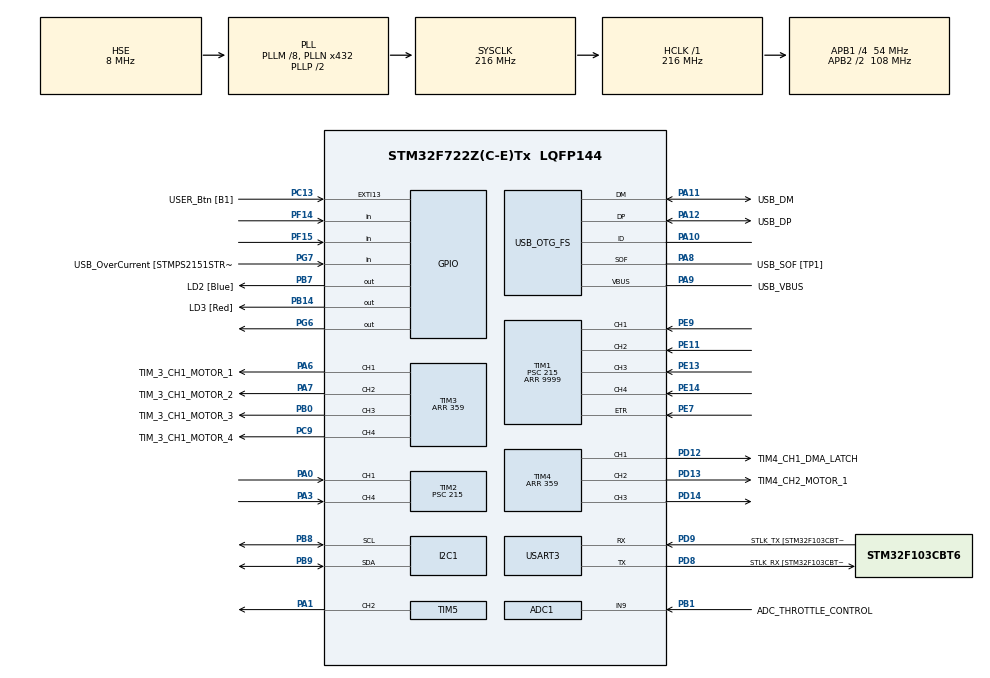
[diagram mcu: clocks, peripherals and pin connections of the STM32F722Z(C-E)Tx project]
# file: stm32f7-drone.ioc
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ADC1.Channel-2\#ChannelRegularConversion=ADC_CHANNEL_9
ADC1.NbrOfConversionFlag=1
ADC1.Rank-2\#ChannelRegularConversion=1
ADC1.SamplingTime-2\#ChannelRegularConversion=ADC_SAMPLETIME_3CYCLES
ADC1.master=1
Dma.I2C1_RX.0.Direction=DMA_PERIPH_TO_MEMORY
Dma.I2C1_RX.0.FIFOMode=DMA_FIFOMODE_ENABLE
Dma.I2C1_RX.0.FIFOThreshold=DMA_FIFO_THRESHOLD_FULL
Dma.I2C1_RX.0.Instance=DMA1_Stream5
Dma.I2C1_RX.0.MemBurst=DMA_MBURST_INC4
Dma.I2C1_RX.0.MemDataAlignment=DMA_MDATAALIGN_BYTE
Dma.I2C1_RX.0.MemInc=DMA_MINC_ENABLE
Dma.I2C1_RX.0.Mode=DMA_NORMAL
Dma.I2C1_RX.0.PeriphBurst=DMA_PBURST_INC4
Dma.I2C1_RX.0.PeriphDataAlignment=DMA_PDATAALIGN_BYTE
Dma.I2C1_RX.0.PeriphInc=DMA_PINC_DISABLE
Dma.I2C1_RX.0.Priority=DMA_PRIORITY_HIGH
Dma.I2C1_TX.1.Direction=DMA_MEMORY_TO_PERIPH
Dma.I2C1_TX.1.FIFOMode=DMA_FIFOMODE_ENABLE
Dma.I2C1_TX.1.FIFOThreshold=DMA_FIFO_THRESHOLD_FULL
Dma.I2C1_TX.1.Instance=DMA1_Stream6
Dma.I2C1_TX.1.MemBurst=DMA_MBURST_INC4
Dma.I2C1_TX.1.MemDataAlignment=DMA_MDATAALIGN_WORD
Dma.I2C1_TX.1.MemInc=DMA_MINC_ENABLE
Dma.I2C1_TX.1.Mode=DMA_NORMAL
Dma.I2C1_TX.1.PeriphBurst=DMA_PBURST_INC4
Dma.I2C1_TX.1.PeriphDataAlignment=DMA_PDATAALIGN_WORD
Dma.I2C1_TX.1.PeriphInc=DMA_PINC_DISABLE
Dma.I2C1_TX.1.Priority=DMA_PRIORITY_HIGH
Dma.Request0=I2C1_RX
Dma.Request1=I2C1_TX
Dma.Request2=TIM4_CH1
Dma.Request3=TIM4_CH2
Dma.Request4=TIM4_CH3
Dma.Request5=TIM5_CH2
Dma.TIM4_CH1.2.Direction=DMA_MEMORY_TO_PERIPH
Dma.TIM4_CH1.2.FIFOMode=DMA_FIFOMODE_ENABLE
Dma.TIM4_CH1.2.FIFOThreshold=DMA_FIFO_THRESHOLD_FULL
Dma.TIM4_CH1.2.Instance=DMA1_Stream0
Dma.TIM4_CH1.2.MemBurst=DMA_MBURST_SINGLE
Dma.TIM4_CH1.2.MemDataAlignment=DMA_MDATAALIGN_WORD
Dma.TIM4_CH1.2.MemInc=DMA_MINC_ENABLE
Dma.TIM4_CH1.2.Mode=DMA_NORMAL
Dma.TIM4_CH1.2.PeriphBurst=DMA_PBURST_SINGLE
Dma.TIM4_CH1.2.PeriphDataAlignment=DMA_PDATAALIGN_WORD
Dma.TIM4_CH1.2.PeriphInc=DMA_PINC_DISABLE
Dma.TIM4_CH1.2.Priority=DMA_PRIORITY_VERY_HIGH
Dma.TIM4_CH2.3.Direction=DMA_MEMORY_TO_PERIPH
Dma.TIM4_CH2.3.FIFOMode=DMA_FIFOMODE_ENABLE
Dma.TIM4_CH2.3.FIFOThreshold=DMA_FIFO_THRESHOLD_FULL
Dma.TIM4_CH2.3.Instance=DMA1_Stream3
Dma.TIM4_CH2.3.MemBurst=DMA_MBURST_SINGLE
Dma.TIM4_CH2.3.MemDataAlignment=DMA_MDATAALIGN_WORD
Dma.TIM4_CH2.3.MemInc=DMA_MINC_ENABLE
Dma.TIM4_CH2.3.Mode=DMA_NORMAL
Dma.TIM4_CH2.3.PeriphBurst=DMA_PBURST_SINGLE
Dma.TIM4_CH2.3.PeriphDataAlignment=DMA_PDATAALIGN_WORD
Dma.TIM4_CH2.3.PeriphInc=DMA_PINC_DISABLE
Dma.TIM4_CH2.3.Priority=DMA_PRIORITY_VERY_HIGH
Dma.TIM4_CH3.4.Direction=DMA_MEMORY_TO_PERIPH
Dma.TIM4_CH3.4.FIFOMode=DMA_FIFOMODE_ENABLE
Dma.TIM4_CH3.4.FIFOThreshold=DMA_FIFO_THRESHOLD_FULL
Dma.TIM4_CH3.4.Instance=DMA1_Stream7
Dma.TIM4_CH3.4.MemBurst=DMA_MBURST_SINGLE
Dma.TIM4_CH3.4.MemDataAlignment=DMA_MDATAALIGN_WORD
Dma.TIM4_CH3.4.MemInc=DMA_MINC_ENABLE
Dma.TIM4_CH3.4.Mode=DMA_NORMAL
Dma.TIM4_CH3.4.PeriphBurst=DMA_PBURST_SINGLE
Dma.TIM4_CH3.4.PeriphDataAlignment=DMA_PDATAALIGN_WORD
Dma.TIM4_CH3.4.PeriphInc=DMA_PINC_DISABLE
Dma.TIM4_CH3.4.Priority=DMA_PRIORITY_VERY_HIGH
Dma.TIM5_CH2.5.Direction=DMA_MEMORY_TO_PERIPH
Dma.TIM5_CH2.5.FIFOMode=DMA_FIFOMODE_ENABLE
Dma.TIM5_CH2.5.FIFOThreshold=DMA_FIFO_THRESHOLD_FULL
Dma.TIM5_CH2.5.Instance=DMA1_Stream4
Dma.TIM5_CH2.5.MemBurst=DMA_MBURST_SINGLE
Dma.TIM5_CH2.5.MemDataAlignment=DMA_MDATAALIGN_WORD
Dma.TIM5_CH2.5.MemInc=DMA_MINC_ENABLE
Dma.TIM5_CH2.5.Mode=DMA_NORMAL
Dma.TIM5_CH2.5.PeriphBurst=DMA_PBURST_SINGLE
Dma.TIM5_CH2.5.PeriphDataAlignment=DMA_PDATAALIGN_WORD
Dma.TIM5_CH2.5.PeriphInc=DMA_PINC_DISABLE
Dma.TIM5_CH2.5.Priority=DMA_PRIORITY_VERY_HIGH
I2C1.NoStretchMode=I2C_NOSTRETCH_DISABLE
I2C1.OwnAddress=0x6A
I2C1.Timing=0x20404768
Mcu.Family=STM32F7
Mcu.Name=STM32F722Z(C-E)Tx
Mcu.Package=LQFP144
NVIC.DMA1_Stream0_IRQn=true\:0\:0\:false\:false\:true\:false\:true
NVIC.DMA1_Stream3_IRQn=true\:0\:0\:false\:false\:true\:false\:true
NVIC.DMA1_Stream4_IRQn=true\:0\:0\:false\:false\:true\:false\:true
NVIC.DMA1_Stream5_IRQn=true\:0\:0\:false\:false\:true\:false\:true
NVIC.DMA1_Stream6_IRQn=true\:0\:0\:false\:false\:true\:false\:true
NVIC.DMA1_Stream7_IRQn=true\:0\:0\:false\:false\:true\:false\:true
NVIC.I2C1_EV_IRQn=true\:0\:0\:false\:false\:true\:true\:true
NVIC.PriorityGroup=NVIC_PRIORITYGROUP_4
NVIC.TIM1_CC_IRQn=true\:0\:0\:false\:false\:true\:true\:true
NVIC.TIM2_IRQn=true\:0\:0\:false\:false\:true\:true\:true
NVIC.USART3_IRQn=true\:0\:0\:false\:false\:true\:true\:true
PA0-WKUP.Signal=S_TIM2_CH1_ETR
PA1.Signal=S_TIM5_CH2
PA10.Mode=OTG/Dual_Role_Device
PA10.Signal=USB_OTG_FS_ID
PA11.GPIO_Label=USB_DM
PA11.Mode=OTG/Dual_Role_Device
PA11.Signal=USB_OTG_FS_DM
PA12.GPIO_Label=USB_DP
PA12.Mode=OTG/Dual_Role_Device
PA12.Signal=USB_OTG_FS_DP
PA13.GPIO_Label=TMS
PA13.Mode=Serial_Wire
PA13.Signal=SYS_JTMS-SWDIO
PA14.GPIO_Label=TCK
PA14.Mode=Serial_Wire
PA14.Signal=SYS_JTCK-SWCLK
PA3.Signal=S_TIM2_CH4
PA6.GPIO_Label=TIM_3_CH1_MOTOR_1
PA6.Signal=S_TIM3_CH1
PA7.GPIO_Label=TIM_3_CH1_MOTOR_2
PA7.Signal=S_TIM3_CH2
PA8.GPIO_Label=USB_SOF [TP1]
PA8.Mode=Activate_SOF_FS
PA8.Signal=USB_OTG_FS_SOF
PA9.GPIO_Label=USB_VBUS
PA9.Mode=Activate_VBUS
PA9.Signal=USB_OTG_FS_VBUS
PB0.GPIO_Label=TIM_3_CH1_MOTOR_3
PB0.Signal=S_TIM3_CH3
PB1.GPIO_Label=ADC_THROTTLE_CONTROL
PB1.Signal=ADCx_IN9
PB14.GPIO_Label=LD3 [Red]
PB14.Signal=GPIO_Output
PB7.GPIO_Label=LD2 [Blue]
PB7.Signal=GPIO_Output
PB8.Mode=I2C
PB8.Signal=I2C1_SCL
PB9.Mode=I2C
PB9.Signal=I2C1_SDA
PC13.GPIO_Label=USER_Btn [B1]
PC13.Signal=GPXTI13
PC14-OSC32_IN.Mode=LSE-External-Oscillator
PC14-OSC32_IN.Signal=RCC_OSC32_IN
PC15-OSC32_OUT.Mode=LSE-External-Oscillator
PC15-OSC32_OUT.Signal=RCC_OSC32_OUT
PC9.GPIO_Label=TIM_3_CH1_MOTOR_4
PC9.Signal=S_TIM3_CH4
PD12.GPIO_Label=TIM4_CH1_DMA_LATCH
PD12.Signal=S_TIM4_CH1
PD13.GPIO_Label=TIM4_CH2_MOTOR_1
PD13.Signal=S_TIM4_CH2
PD14.Signal=S_TIM4_CH3
PD8.GPIO_Label=STLK_RX [STM32F103CBT6_PA3]
PD8.Mode=Asynchronous
PD8.Signal=USART3_TX
PD9.GPIO_Label=STLK_TX [STM32F103CBT6_PA2]
PD9.Mode=Asynchronous
PD9.Signal=USART3_RX
PE11.Signal=S_TIM1_CH2
PE13.Signal=S_TIM1_CH3
PE14.Signal=S_TIM1_CH4
PE7.Signal=S_TIM1_ETR
PE9.Signal=S_TIM1_CH1
PF14.Signal=GPIO_Input
PF15.Signal=GPIO_Input
PG2.Signal=FMC_A12
PG6.Signal=GPIO_Output
PG7.GPIO_Label=USB_OverCurrent [STMPS2151STR_FAULT]
PG7.Signal=GPIO_Input
PH0-OSC_IN.GPIO_Label=MCO
PH0-OSC_IN.Mode=HSE-External-Clock-Source
PH0-OSC_IN.Signal=RCC_OSC_IN
PH1-OSC_OUT.Mode=HSE-External-Clock-Source
PH1-OSC_OUT.Signal=RCC_OSC_OUT
ProjectManager.HeapSize=0x200
ProjectManager.StackSize=0x400
ProjectManager.TargetToolchain=STM32CubeIDE
RCC.48MHZClocksFreq_Value=24000000
RCC.AHBFreq_Value=216000000
RCC.APB1CLKDivider=RCC_HCLK_DIV4
RCC.APB1Freq_Value=54000000
RCC.APB1TimFreq_Value=108000000
RCC.APB2CLKDivider=RCC_HCLK_DIV2
RCC.APB2Freq_Value=108000000
RCC.APB2TimFreq_Value=216000000
RCC.CortexFreq_Value=216000000
RCC.HCLKFreq_Value=216000000
RCC.HSE_VALUE=8000000
RCC.HSI_VALUE=16000000
RCC.PLLM=8
RCC.PLLMUL=RCC_PLL_MUL9
RCC.PLLN=432
RCC.PLLQ=9
RCC.PRESCALERUSB=RCC_USBCLKSOURCE_PLL_DIV1_5
RCC.SYSCLKFreq_VALUE=216000000
RCC.SYSCLKSource=RCC_SYSCLKSOURCE_PLLCLK
RCC.SYSCLKSourceVirtual=RCC_SYSCLKSOURCE_PLLCLK
RCC.USBFreq_Value=48000000
RCC.VCOOutputFreq_Value=432000000
SH.ADCx_IN9.0=ADC1_IN9,IN9
SH.FMC_A12.0=FMC_A12
SH.S_TIM1_CH1.0=TIM1_CH1,Input_Capture1_from_TI1
SH.S_TIM1_CH2.0=TIM1_CH2,Input_Capture2_from_TI2
SH.S_TIM1_CH3.0=TIM1_CH3,Input_Capture3_from_TI3
SH.S_TIM1_CH4.0=TIM1_CH4,Input_Capture4_from_TI4
SH.S_TIM1_ETR.0=TIM1_ETR,TriggerSource_ETR
SH.S_TIM2_CH1_ETR.0=TIM2_CH1,Input_Capture1_from_TI1
SH.S_TIM2_CH4.0=TIM2_CH4,Input_Capture4_from_TI4
SH.S_TIM3_CH1.0=TIM3_CH1,PWM Generation1 CH1
SH.S_TIM3_CH2.0=TIM3_CH2,PWM Generation2 CH2
SH.S_TIM3_CH3.0=TIM3_CH3,PWM Generation3 CH3
SH.S_TIM3_CH4.0=TIM3_CH4,PWM Generation4 CH4
SH.S_TIM4_CH1.0=TIM4_CH1,Output Compare1 CH1
SH.S_TIM4_CH2.0=TIM4_CH2,Output Compare2 CH2
SH.S_TIM4_CH3.0=TIM4_CH3,Output Compare3 CH3
SH.S_TIM5_CH2.0=TIM5_CH2,Output Compare2 CH2
TIM1.AutoReloadPreload=TIM_AUTORELOAD_PRELOAD_ENABLE
TIM1.Channel-Input_Capture1_from_TI1=TIM_CHANNEL_1
TIM1.Channel-Input_Capture2_from_TI2=TIM_CHANNEL_2
TIM1.Channel-Input_Capture3_from_TI3=TIM_CHANNEL_3
TIM1.Channel-Input_Capture4_from_TI4=TIM_CHANNEL_4
TIM1.ICPolarity_CH1=TIM_INPUTCHANNELPOLARITY_FALLING
TIM1.ICPolarity_CH2=TIM_INPUTCHANNELPOLARITY_FALLING
TIM1.ICPolarity_CH3=TIM_INPUTCHANNELPOLARITY_FALLING
TIM1.ICPolarity_CH4=TIM_INPUTCHANNELPOLARITY_FALLING
TIM1.Period=9999
TIM1.Prescaler=215
TIM1.Slave_TriggerPolarity=TIM_TRIGGERPOLARITY_NONINVERTED
TIM2.AutoReloadPreload=TIM_AUTORELOAD_PRELOAD_ENABLE
TIM2.Channel-Input_Capture1_from_TI1=TIM_CHANNEL_1
TIM2.Channel-Input_Capture4_from_TI4=TIM_CHANNEL_4
TIM2.ICPolarity_CH1=TIM_INPUTCHANNELPOLARITY_FALLING
TIM2.ICPolarity_CH4=TIM_INPUTCHANNELPOLARITY_FALLING
TIM2.Period=9999
TIM2.Prescaler=215
TIM2.TIM_MasterOutputTrigger=TIM_TRGO_RESET
TIM3.AutoReloadPreload=TIM_AUTORELOAD_PRELOAD_ENABLE
TIM3.Channel-PWM\ Generation1\ CH1=TIM_CHANNEL_1
TIM3.Channel-PWM\ Generation2\ CH2=TIM_CHANNEL_2
TIM3.Channel-PWM\ Generation3\ CH3=TIM_CHANNEL_3
TIM3.Channel-PWM\ Generation4\ CH4=TIM_CHANNEL_4
TIM3.Period=359
TIM4.AutoReloadPreload=TIM_AUTORELOAD_PRELOAD_ENABLE
TIM4.Channel-Output\ Compare1\ CH1=TIM_CHANNEL_1
TIM4.Channel-Output\ Compare2\ CH2=TIM_CHANNEL_2
TIM4.Channel-Output\ Compare3\ CH3=TIM_CHANNEL_3
TIM4.OCMode_1=TIM_OCMODE_ACTIVE
TIM4.OCMode_2=TIM_OCMODE_ACTIVE
TIM4.OCMode_3=TIM_OCMODE_ACTIVE
TIM4.Period=359
TIM4.Pulse-Output\ Compare1\ CH1=1
TIM4.Pulse-Output\ Compare2\ CH2=1
TIM4.Pulse-Output\ Compare3\ CH3=1
TIM5.AutoReloadPreload=TIM_AUTORELOAD_PRELOAD_ENABLE
TIM5.Channel-Output\ Compare2\ CH2=TIM_CHANNEL_2
TIM5.OCMode_2=TIM_OCMODE_ACTIVE
TIM5.Period=359
TIM5.Pulse-Output\ Compare2\ CH2=1
USART3.VirtualMode-Asynchronous=VM_ASYNC
VP_TIM1_VS_ControllerModeReset.Mode=Reset Mode
VP_TIM2_VS_ClockSourceITR.Mode=TriggerSource_ITR0
VP_TIM2_VS_ControllerModeReset.Mode=Reset Mode
board=NUCLEO-F722ZE

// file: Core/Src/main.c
/* USER CODE BEGIN Header */
/**
 ******************************************************************************
 * @file           : main.c
 * @brief          : Main program body
 ******************************************************************************
 * @attention
 *
 * <h2><center>&copy; Copyright (c) 2020 STMicroelectronics.
 * All rights reserved.</center></h2>
 *
 * This software component is licensed by ST under BSD 3-Clause license,
 * the "License"; You may not use this file except in compliance with the
 * License. You may obtain a copy of the License at:
 *                        opensource.org/licenses/BSD-3-Clause
 *
 ******************************************************************************
 */
/* USER CODE END Header */
#include "main.h"

/* USER CODE BEGIN Includes */
#include <string.h>
#include <stdio.h>
#include <time.h>
#include "ESC.h"
#include "ADC.h"
#include "XLG.h"
#include "RX.h"
/* USER CODE END Includes */

ADC_HandleTypeDef hadc1;

I2C_HandleTypeDef hi2c1;

DMA_HandleTypeDef hdma_i2c1_rx;
DMA_HandleTypeDef hdma_i2c1_tx;

TIM_HandleTypeDef htim1;
TIM_HandleTypeDef htim2;
TIM_HandleTypeDef htim3;
TIM_HandleTypeDef htim4;
TIM_HandleTypeDef htim5;

DMA_HandleTypeDef hdma_tim4_ch1;
DMA_HandleTypeDef hdma_tim4_ch2;
DMA_HandleTypeDef hdma_tim4_ch3;
DMA_HandleTypeDef hdma_tim5_ch2;

UART_HandleTypeDef huart3;

/* USER CODE BEGIN PV */
int cmd = 0;
int motor = 0;
uint8_t throttleHighFlag = 1;
uint8_t commandBlocking = 0;
uint32_t watchdog = 0;
uint8_t armed = 0;
uint8_t txDisconnected = 0;
uint8_t escCMD;
uint8_t sendMsg[48];
XLG_DATA gData;
XLG_DATA xlData;
DMA_HandleTypeDef* escDMASet[4];
TIM_HandleTypeDef* dmaPwmTimers[2];
ESC_CONTROLLER* myESCSet;
RX_CONTROLLER* myRX;
/* USER CODE END PV */

void SystemClock_Config(void);
static void MX_GPIO_Init(void);
static void MX_DMA_Init(void);
static void MX_USART3_UART_Init(void);
static void MX_USB_OTG_FS_USB_Init(void);
static void MX_TIM4_Init(void);
static void MX_ADC1_Init(void);
static void MX_I2C1_Init(void);
static void MX_TIM3_Init(void);
static void MX_TIM2_Init(void);
static void MX_TIM1_Init(void);
static void MX_TIM5_Init(void);

/* USER CODE BEGIN 0 */

// Interrupt service routine for command line settings
void HAL_UART_RxCpltCallback(UART_HandleTypeDef* huart)
{
	// cmd will be used externally from IRQ to send specific command to ESCs
	cmd = escCMD - '0';
	// Start listening for another command via UART
	HAL_UART_Receive_IT(&huart3, &escCMD, 1);
	// Echo back to user the command they sent
	sprintf((char*)sendMsg, "\r\nSending command %c\r\n", escCMD);
	HAL_UART_Transmit_IT(&huart3, sendMsg, strlen((char*)sendMsg));
}

// Interrupt service routine for RX
void HAL_TIM_IC_CaptureCallback(TIM_HandleTypeDef *htim)
{
	RX_UPDATE(myRX);
	ESC_CALC_THROTTLE(myESCSet, myRX, armed);
	watchdog = 0;
}

// XLG data interrrupt service routine
void HAL_I2C_MasterRxCpltCallback(I2C_HandleTypeDef *hi2c)
{
	XLG_G_DATA_READ(&hi2c1, &gData);
	XLG_XL_DATA_READ(&hi2c1, &xlData);
}

void DMA_XferCpltCallback(DMA_HandleTypeDef *hdma)
{
//	if (armed && !myESCSet->SendingFlag)
//	{
//		ESC_UPDATE_THROTTLE(myESCSet);
//	}
}

/* USER CODE END 0 */

int main(void)
{

	/* MCU Configuration--------------------------------------------------------*/

	/* Reset of all peripherals, Initializes the Flash interface and the Systick. */
	HAL_Init();

	/* Configure the system clock */
	SystemClock_Config();

	/* Initialize all configured peripherals */
	MX_GPIO_Init();
	MX_DMA_Init();
	MX_USART3_UART_Init();
	MX_USB_OTG_FS_USB_Init();
	MX_TIM4_Init();
	MX_ADC1_Init();
	MX_I2C1_Init();
	MX_TIM3_Init();
	MX_TIM2_Init();
	MX_TIM1_Init();
	MX_TIM5_Init();
	/* USER CODE BEGIN 2 */
	escDMASet[0] = &hdma_tim4_ch1; 		// DMA1: Stream 0 (S0)
	escDMASet[1] = &hdma_tim4_ch2; 		// DMA1: Stream 3 (S3)
	escDMASet[2] = &hdma_tim4_ch3; 		// DMA1: Stream 7 (S7)
	escDMASet[3] = &hdma_tim5_ch2; 		// DMA1: Stream 4 (S4)
	dmaPwmTimers[0] = &htim4;
	dmaPwmTimers[1] = &htim5;
	myESCSet = ESC_INIT(dmaPwmTimers, &htim3, escDMASet);
	myRX = RX_INIT(&htim1, &htim2);
	XLG_INIT(&hi2c1);
	XLG_G_DATA_READ(&hi2c1, &gData);
	XLG_XL_DATA_READ(&hi2c1, &xlData);
	HAL_UART_Receive_IT(&huart3, &escCMD, 1);
	/* USER CODE END 2 */

	/* Infinite loop */
	/* USER CODE BEGIN WHILE */
	while (1)
	{
		watchdog++;
		if (watchdog > 1000)
		{
			armed = 0;
			RX_DISCONNECTED(myRX);
			ESC_CALC_THROTTLE(myESCSet, myRX, armed);
			ESC_UPDATE_THROTTLE(myESCSet);
			ESC_SEND_CMD(myESCSet, DSHOT_CMD_BEACON3, ALL_MOTORS);
		}
		else if (!myRX->switchA)
		{
			armed = 0;
			ESC_SEND_CMD(myESCSet, DSHOT_CMD_MOTOR_STOP, ALL_MOTORS);
			throttleHighFlag = 0;
		}
		else if ((myRX->switchA && (myRX->throttle < 50)) || throttleHighFlag)
		{
			armed = 1;
			ESC_UPDATE_THROTTLE(myESCSet);
			throttleHighFlag = 1;
		}
		/* USER CODE END WHILE */

	}
}

void SystemClock_Config(void)
{
  RCC_OscInitTypeDef RCC_OscInitStruct = {0};
  RCC_ClkInitTypeDef RCC_ClkInitStruct = {0};
  RCC_PeriphCLKInitTypeDef PeriphClkInitStruct = {0};

  /** Configure LSE Drive Capability
  */
  HAL_PWR_EnableBkUpAccess();
  /** Configure the main internal regulator output voltage
  */
  __HAL_RCC_PWR_CLK_ENABLE();
  __HAL_PWR_VOLTAGESCALING_CONFIG(PWR_REGULATOR_VOLTAGE_SCALE1);
  /** Initializes the RCC Oscillators according to the specified parameters
  * in the RCC_OscInitTypeDef structure.
  */
  RCC_OscInitStruct.OscillatorType = RCC_OSCILLATORTYPE_HSE;
  RCC_OscInitStruct.HSEState = RCC_HSE_BYPASS;
  RCC_OscInitStruct.PLL.PLLState = RCC_PLL_ON;
  RCC_OscInitStruct.PLL.PLLSource = RCC_PLLSOURCE_HSE;
  RCC_OscInitStruct.PLL.PLLM = 8;
  RCC_OscInitStruct.PLL.PLLN = 432;
  RCC_OscInitStruct.PLL.PLLP = RCC_PLLP_DIV2;
  RCC_OscInitStruct.PLL.PLLQ = 9;
  if (HAL_RCC_OscConfig(&RCC_OscInitStruct) != HAL_OK)
  {
    Error_Handler();
  }
  /** Activate the Over-Drive mode
  */
  if (HAL_PWREx_EnableOverDrive() != HAL_OK)
  {
    Error_Handler();
  }
  /** Initializes the CPU, AHB and APB buses clocks
  */
  RCC_ClkInitStruct.ClockType = RCC_CLOCKTYPE_HCLK|RCC_CLOCKTYPE_SYSCLK
                              |RCC_CLOCKTYPE_PCLK1|RCC_CLOCKTYPE_PCLK2;
  RCC_ClkInitStruct.SYSCLKSource = RCC_SYSCLKSOURCE_PLLCLK;
  RCC_ClkInitStruct.AHBCLKDivider = RCC_SYSCLK_DIV1;
  RCC_ClkInitStruct.APB1CLKDivider = RCC_HCLK_DIV4;
  RCC_ClkInitStruct.APB2CLKDivider = RCC_HCLK_DIV2;

  if (HAL_RCC_ClockConfig(&RCC_ClkInitStruct, FLASH_LATENCY_7) != HAL_OK)
  {
    Error_Handler();
  }
  PeriphClkInitStruct.PeriphClockSelection = RCC_PERIPHCLK_USART3|RCC_PERIPHCLK_I2C1
                              |RCC_PERIPHCLK_CLK48;
  PeriphClkInitStruct.Usart3ClockSelection = RCC_USART3CLKSOURCE_PCLK1;
  PeriphClkInitStruct.I2c1ClockSelection = RCC_I2C1CLKSOURCE_PCLK1;
  PeriphClkInitStruct.Clk48ClockSelection = RCC_CLK48SOURCE_PLL;
  if (HAL_RCCEx_PeriphCLKConfig(&PeriphClkInitStruct) != HAL_OK)
  {
    Error_Handler();
  }
}

static void MX_ADC1_Init(void)
{

  ADC_ChannelConfTypeDef sConfig = {0};

  /** Configure the global features of the ADC (Clock, Resolution, Data Alignment and number of conversion)
  */
  hadc1.Instance = ADC1;
  hadc1.Init.ClockPrescaler = ADC_CLOCK_SYNC_PCLK_DIV4;
  hadc1.Init.Resolution = ADC_RESOLUTION_12B;
  hadc1.Init.ScanConvMode = ADC_SCAN_DISABLE;
  hadc1.Init.ContinuousConvMode = DISABLE;
  hadc1.Init.DiscontinuousConvMode = DISABLE;
  hadc1.Init.ExternalTrigConvEdge = ADC_EXTERNALTRIGCONVEDGE_NONE;
  hadc1.Init.ExternalTrigConv = ADC_SOFTWARE_START;
  hadc1.Init.DataAlign = ADC_DATAALIGN_RIGHT;
  hadc1.Init.NbrOfConversion = 1;
  hadc1.Init.DMAContinuousRequests = DISABLE;
  hadc1.Init.EOCSelection = ADC_EOC_SINGLE_CONV;
  if (HAL_ADC_Init(&hadc1) != HAL_OK)
  {
    Error_Handler();
  }
  /** Configure for the selected ADC regular channel its corresponding rank in the sequencer and its sample time.
  */
  sConfig.Channel = ADC_CHANNEL_9;
  sConfig.Rank = ADC_REGULAR_RANK_1;
  sConfig.SamplingTime = ADC_SAMPLETIME_3CYCLES;
  if (HAL_ADC_ConfigChannel(&hadc1, &sConfig) != HAL_OK)
  {
    Error_Handler();
  }

}

static void MX_I2C1_Init(void)
{

  hi2c1.Instance = I2C1;
  hi2c1.Init.Timing = 0x20404768;
  hi2c1.Init.OwnAddress1 = 212;
  hi2c1.Init.AddressingMode = I2C_ADDRESSINGMODE_7BIT;
  hi2c1.Init.DualAddressMode = I2C_DUALADDRESS_DISABLE;
  hi2c1.Init.OwnAddress2 = 0;
  hi2c1.Init.OwnAddress2Masks = I2C_OA2_NOMASK;
  hi2c1.Init.GeneralCallMode = I2C_GENERALCALL_DISABLE;
  hi2c1.Init.NoStretchMode = I2C_NOSTRETCH_DISABLE;
  if (HAL_I2C_Init(&hi2c1) != HAL_OK)
  {
    Error_Handler();
  }
  /** Configure Analogue filter
  */
  if (HAL_I2CEx_ConfigAnalogFilter(&hi2c1, I2C_ANALOGFILTER_ENABLE) != HAL_OK)
  {
    Error_Handler();
  }
  /** Configure Digital filter
  */
  if (HAL_I2CEx_ConfigDigitalFilter(&hi2c1, 0) != HAL_OK)
  {
    Error_Handler();
  }

}

static void MX_TIM1_Init(void)
{

  TIM_SlaveConfigTypeDef sSlaveConfig = {0};
  TIM_MasterConfigTypeDef sMasterConfig = {0};
  TIM_IC_InitTypeDef sConfigIC = {0};

  htim1.Instance = TIM1;
  htim1.Init.Prescaler = 215;
  htim1.Init.CounterMode = TIM_COUNTERMODE_UP;
  htim1.Init.Period = 9999;
  htim1.Init.ClockDivision = TIM_CLOCKDIVISION_DIV1;
  htim1.Init.RepetitionCounter = 0;
  htim1.Init.AutoReloadPreload = TIM_AUTORELOAD_PRELOAD_ENABLE;
  if (HAL_TIM_Base_Init(&htim1) != HAL_OK)
  {
    Error_Handler();
  }
  if (HAL_TIM_IC_Init(&htim1) != HAL_OK)
  {
    Error_Handler();
  }
  sSlaveConfig.SlaveMode = TIM_SLAVEMODE_RESET;
  sSlaveConfig.InputTrigger = TIM_TS_ETRF;
  sSlaveConfig.TriggerPolarity = TIM_TRIGGERPOLARITY_NONINVERTED;
  sSlaveConfig.TriggerPrescaler = TIM_TRIGGERPRESCALER_DIV1;
  sSlaveConfig.TriggerFilter = 0;
  if (HAL_TIM_SlaveConfigSynchro(&htim1, &sSlaveConfig) != HAL_OK)
  {
    Error_Handler();
  }
  sMasterConfig.MasterOutputTrigger = TIM_TRGO_RESET;
  sMasterConfig.MasterOutputTrigger2 = TIM_TRGO2_RESET;
  sMasterConfig.MasterSlaveMode = TIM_MASTERSLAVEMODE_DISABLE;
  if (HAL_TIMEx_MasterConfigSynchronization(&htim1, &sMasterConfig) != HAL_OK)
  {
    Error_Handler();
  }
  sConfigIC.ICPolarity = TIM_INPUTCHANNELPOLARITY_FALLING;
  sConfigIC.ICSelection = TIM_ICSELECTION_DIRECTTI;
  sConfigIC.ICPrescaler = TIM_ICPSC_DIV1;
  sConfigIC.ICFilter = 0;
  if (HAL_TIM_IC_ConfigChannel(&htim1, &sConfigIC, TIM_CHANNEL_1) != HAL_OK)
  {
    Error_Handler();
  }
  if (HAL_TIM_IC_ConfigChannel(&htim1, &sConfigIC, TIM_CHANNEL_2) != HAL_OK)
  {
    Error_Handler();
  }
  if (HAL_TIM_IC_ConfigChannel(&htim1, &sConfigIC, TIM_CHANNEL_3) != HAL_OK)
  {
    Error_Handler();
  }
  if (HAL_TIM_IC_ConfigChannel(&htim1, &sConfigIC, TIM_CHANNEL_4) != HAL_OK)
  {
    Error_Handler();
  }

}

static void MX_TIM2_Init(void)
{

  TIM_SlaveConfigTypeDef sSlaveConfig = {0};
  TIM_MasterConfigTypeDef sMasterConfig = {0};
  TIM_IC_InitTypeDef sConfigIC = {0};

  htim2.Instance = TIM2;
  htim2.Init.Prescaler = 215;
  htim2.Init.CounterMode = TIM_COUNTERMODE_UP;
  htim2.Init.Period = 9999;
  htim2.Init.ClockDivision = TIM_CLOCKDIVISION_DIV1;
  htim2.Init.AutoReloadPreload = TIM_AUTORELOAD_PRELOAD_ENABLE;
  if (HAL_TIM_Base_Init(&htim2) != HAL_OK)
  {
    Error_Handler();
  }
  if (HAL_TIM_IC_Init(&htim2) != HAL_OK)
  {
    Error_Handler();
  }
  sSlaveConfig.SlaveMode = TIM_SLAVEMODE_RESET;
  sSlaveConfig.InputTrigger = TIM_TS_ITR0;
  if (HAL_TIM_SlaveConfigSynchro(&htim2, &sSlaveConfig) != HAL_OK)
  {
    Error_Handler();
  }
  sMasterConfig.MasterOutputTrigger = TIM_TRGO_RESET;
  sMasterConfig.MasterSlaveMode = TIM_MASTERSLAVEMODE_DISABLE;
  if (HAL_TIMEx_MasterConfigSynchronization(&htim2, &sMasterConfig) != HAL_OK)
  {
    Error_Handler();
  }
  sConfigIC.ICPolarity = TIM_INPUTCHANNELPOLARITY_FALLING;
  sConfigIC.ICSelection = TIM_ICSELECTION_DIRECTTI;
  sConfigIC.ICPrescaler = TIM_ICPSC_DIV1;
  sConfigIC.ICFilter = 0;
  if (HAL_TIM_IC_ConfigChannel(&htim2, &sConfigIC, TIM_CHANNEL_1) != HAL_OK)
  {
    Error_Handler();
  }
  if (HAL_TIM_IC_ConfigChannel(&htim2, &sConfigIC, TIM_CHANNEL_4) != HAL_OK)
  {
    Error_Handler();
  }

}

static void MX_TIM3_Init(void)
{

  TIM_MasterConfigTypeDef sMasterConfig = {0};
  TIM_OC_InitTypeDef sConfigOC = {0};

  htim3.Instance = TIM3;
  htim3.Init.Prescaler = 0;
  htim3.Init.CounterMode = TIM_COUNTERMODE_UP;
  htim3.Init.Period = 359;
  htim3.Init.ClockDivision = TIM_CLOCKDIVISION_DIV1;
  htim3.Init.AutoReloadPreload = TIM_AUTORELOAD_PRELOAD_ENABLE;
  if (HAL_TIM_PWM_Init(&htim3) != HAL_OK)
  {
    Error_Handler();
  }
  sMasterConfig.MasterOutputTrigger = TIM_TRGO_RESET;
  sMasterConfig.MasterSlaveMode = TIM_MASTERSLAVEMODE_DISABLE;
  if (HAL_TIMEx_MasterConfigSynchronization(&htim3, &sMasterConfig) != HAL_OK)
  {
    Error_Handler();
  }
  sConfigOC.OCMode = TIM_OCMODE_PWM1;
  sConfigOC.Pulse = 0;
  sConfigOC.OCPolarity = TIM_OCPOLARITY_HIGH;
  sConfigOC.OCFastMode = TIM_OCFAST_DISABLE;
  if (HAL_TIM_PWM_ConfigChannel(&htim3, &sConfigOC, TIM_CHANNEL_1) != HAL_OK)
  {
    Error_Handler();
  }
  if (HAL_TIM_PWM_ConfigChannel(&htim3, &sConfigOC, TIM_CHANNEL_2) != HAL_OK)
  {
    Error_Handler();
  }
  if (HAL_TIM_PWM_ConfigChannel(&htim3, &sConfigOC, TIM_CHANNEL_3) != HAL_OK)
  {
    Error_Handler();
  }
  if (HAL_TIM_PWM_ConfigChannel(&htim3, &sConfigOC, TIM_CHANNEL_4) != HAL_OK)
  {
    Error_Handler();
  }
  HAL_TIM_MspPostInit(&htim3);

}

static void MX_TIM4_Init(void)
{

  TIM_MasterConfigTypeDef sMasterConfig = {0};
  TIM_OC_InitTypeDef sConfigOC = {0};

  htim4.Instance = TIM4;
  htim4.Init.Prescaler = 0;
  htim4.Init.CounterMode = TIM_COUNTERMODE_UP;
  htim4.Init.Period = 359;
  htim4.Init.ClockDivision = TIM_CLOCKDIVISION_DIV1;
  htim4.Init.AutoReloadPreload = TIM_AUTORELOAD_PRELOAD_ENABLE;
  if (HAL_TIM_OC_Init(&htim4) != HAL_OK)
  {
    Error_Handler();
  }
  sMasterConfig.MasterOutputTrigger = TIM_TRGO_RESET;
  sMasterConfig.MasterSlaveMode = TIM_MASTERSLAVEMODE_DISABLE;
  if (HAL_TIMEx_MasterConfigSynchronization(&htim4, &sMasterConfig) != HAL_OK)
  {
    Error_Handler();
  }
  sConfigOC.OCMode = TIM_OCMODE_ACTIVE;
  sConfigOC.Pulse = 1;
  sConfigOC.OCPolarity = TIM_OCPOLARITY_HIGH;
  sConfigOC.OCFastMode = TIM_OCFAST_DISABLE;
  if (HAL_TIM_OC_ConfigChannel(&htim4, &sConfigOC, TIM_CHANNEL_1) != HAL_OK)
  {
    Error_Handler();
  }
  if (HAL_TIM_OC_ConfigChannel(&htim4, &sConfigOC, TIM_CHANNEL_2) != HAL_OK)
  {
    Error_Handler();
  }
  if (HAL_TIM_OC_ConfigChannel(&htim4, &sConfigOC, TIM_CHANNEL_3) != HAL_OK)
  {
    Error_Handler();
  }
  HAL_TIM_MspPostInit(&htim4);

}

static void MX_TIM5_Init(void)
{

  TIM_MasterConfigTypeDef sMasterConfig = {0};
  TIM_OC_InitTypeDef sConfigOC = {0};

  htim5.Instance = TIM5;
  htim5.Init.Prescaler = 0;
  htim5.Init.CounterMode = TIM_COUNTERMODE_UP;
  htim5.Init.Period = 359;
  htim5.Init.ClockDivision = TIM_CLOCKDIVISION_DIV1;
  htim5.Init.AutoReloadPreload = TIM_AUTORELOAD_PRELOAD_ENABLE;
  if (HAL_TIM_OC_Init(&htim5) != HAL_OK)
  {
    Error_Handler();
  }
  sMasterConfig.MasterOutputTrigger = TIM_TRGO_RESET;
  sMasterConfig.MasterSlaveMode = TIM_MASTERSLAVEMODE_DISABLE;
  if (HAL_TIMEx_MasterConfigSynchronization(&htim5, &sMasterConfig) != HAL_OK)
  {
    Error_Handler();
  }
  sConfigOC.OCMode = TIM_OCMODE_ACTIVE;
  sConfigOC.Pulse = 1;
  sConfigOC.OCPolarity = TIM_OCPOLARITY_HIGH;
  sConfigOC.OCFastMode = TIM_OCFAST_DISABLE;
  if (HAL_TIM_OC_ConfigChannel(&htim5, &sConfigOC, TIM_CHANNEL_2) != HAL_OK)
  {
    Error_Handler();
  }
  HAL_TIM_MspPostInit(&htim5);

}

static void MX_USART3_UART_Init(void)
{

  huart3.Instance = USART3;
  huart3.Init.BaudRate = 115200;
  huart3.Init.WordLength = UART_WORDLENGTH_8B;
  huart3.Init.StopBits = UART_STOPBITS_1;
  huart3.Init.Parity = UART_PARITY_NONE;
  huart3.Init.Mode = UART_MODE_TX_RX;
  huart3.Init.HwFlowCtl = UART_HWCONTROL_NONE;
  huart3.Init.OverSampling = UART_OVERSAMPLING_16;
  huart3.Init.OneBitSampling = UART_ONE_BIT_SAMPLE_DISABLE;
  huart3.AdvancedInit.AdvFeatureInit = UART_ADVFEATURE_NO_INIT;
  if (HAL_UART_Init(&huart3) != HAL_OK)
  {
    Error_Handler();
  }

}

static void MX_USB_OTG_FS_USB_Init(void)
{

}

static void MX_DMA_Init(void)
{

  /* DMA controller clock enable */
  __HAL_RCC_DMA1_CLK_ENABLE();

  /* DMA interrupt init */
  /* DMA1_Stream0_IRQn interrupt configuration */
  HAL_NVIC_SetPriority(DMA1_Stream0_IRQn, 0, 0);
  HAL_NVIC_EnableIRQ(DMA1_Stream0_IRQn);
  /* DMA1_Stream3_IRQn interrupt configuration */
  HAL_NVIC_SetPriority(DMA1_Stream3_IRQn, 0, 0);
  HAL_NVIC_EnableIRQ(DMA1_Stream3_IRQn);
  /* DMA1_Stream4_IRQn interrupt configuration */
  HAL_NVIC_SetPriority(DMA1_Stream4_IRQn, 0, 0);
  HAL_NVIC_EnableIRQ(DMA1_Stream4_IRQn);
  /* DMA1_Stream5_IRQn interrupt configuration */
  HAL_NVIC_SetPriority(DMA1_Stream5_IRQn, 0, 0);
  HAL_NVIC_EnableIRQ(DMA1_Stream5_IRQn);
  /* DMA1_Stream6_IRQn interrupt configuration */
  HAL_NVIC_SetPriority(DMA1_Stream6_IRQn, 0, 0);
  HAL_NVIC_EnableIRQ(DMA1_Stream6_IRQn);
  /* DMA1_Stream7_IRQn interrupt configuration */
  HAL_NVIC_SetPriority(DMA1_Stream7_IRQn, 0, 0);
  HAL_NVIC_EnableIRQ(DMA1_Stream7_IRQn);

}

static void MX_GPIO_Init(void)
{
  GPIO_InitTypeDef GPIO_InitStruct = {0};

  /* GPIO Ports Clock Enable */
  __HAL_RCC_GPIOC_CLK_ENABLE();
  __HAL_RCC_GPIOH_CLK_ENABLE();
  __HAL_RCC_GPIOA_CLK_ENABLE();
  __HAL_RCC_GPIOB_CLK_ENABLE();
  __HAL_RCC_GPIOF_CLK_ENABLE();
  __HAL_RCC_GPIOE_CLK_ENABLE();
  __HAL_RCC_GPIOD_CLK_ENABLE();
  __HAL_RCC_GPIOG_CLK_ENABLE();

  /*Configure GPIO pin Output Level */
  HAL_GPIO_WritePin(GPIOB, LD3_Pin|LD2_Pin, GPIO_PIN_RESET);

  /*Configure GPIO pin Output Level */
  HAL_GPIO_WritePin(GPIOG, GPIO_PIN_6, GPIO_PIN_RESET);

  /*Configure GPIO pin : USER_Btn_Pin */
  GPIO_InitStruct.Pin = USER_Btn_Pin;
  GPIO_InitStruct.Mode = GPIO_MODE_IT_RISING;
  GPIO_InitStruct.Pull = GPIO_NOPULL;
  HAL_GPIO_Init(USER_Btn_GPIO_Port, &GPIO_InitStruct);

  /*Configure GPIO pins : PF14 PF15 */
  GPIO_InitStruct.Pin = GPIO_PIN_14|GPIO_PIN_15;
  GPIO_InitStruct.Mode = GPIO_MODE_INPUT;
  GPIO_InitStruct.Pull = GPIO_NOPULL;
  HAL_GPIO_Init(GPIOF, &GPIO_InitStruct);

  /*Configure GPIO pins : LD3_Pin LD2_Pin */
  GPIO_InitStruct.Pin = LD3_Pin|LD2_Pin;
  GPIO_InitStruct.Mode = GPIO_MODE_OUTPUT_PP;
  GPIO_InitStruct.Pull = GPIO_NOPULL;
  GPIO_InitStruct.Speed = GPIO_SPEED_FREQ_LOW;
  HAL_GPIO_Init(GPIOB, &GPIO_InitStruct);

  /*Configure GPIO pin : PG2 */
  GPIO_InitStruct.Pin = GPIO_PIN_2;
  GPIO_InitStruct.Mode = GPIO_MODE_AF_PP;
  GPIO_InitStruct.Pull = GPIO_NOPULL;
  GPIO_InitStruct.Speed = GPIO_SPEED_FREQ_VERY_HIGH;
  GPIO_InitStruct.Alternate = GPIO_AF12_FMC;
  HAL_GPIO_Init(GPIOG, &GPIO_InitStruct);

  /*Configure GPIO pin : PG6 */
  GPIO_InitStruct.Pin = GPIO_PIN_6;
  GPIO_InitStruct.Mode = GPIO_MODE_OUTPUT_PP;
  GPIO_InitStruct.Pull = GPIO_NOPULL;
  GPIO_InitStruct.Speed = GPIO_SPEED_FREQ_LOW;
  HAL_GPIO_Init(GPIOG, &GPIO_InitStruct);

  /*Configure GPIO pin : USB_OverCurrent_Pin */
  GPIO_InitStruct.Pin = USB_OverCurrent_Pin;
  GPIO_InitStruct.Mode = GPIO_MODE_INPUT;
  GPIO_InitStruct.Pull = GPIO_NOPULL;
  HAL_GPIO_Init(USB_OverCurrent_GPIO_Port, &GPIO_InitStruct);

  /*Configure GPIO pins : USB_SOF_Pin PA10 USB_DM_Pin USB_DP_Pin */
  GPIO_InitStruct.Pin = USB_SOF_Pin|GPIO_PIN_10|USB_DM_Pin|USB_DP_Pin;
  GPIO_InitStruct.Mode = GPIO_MODE_AF_PP;
  GPIO_InitStruct.Pull = GPIO_NOPULL;
  GPIO_InitStruct.Speed = GPIO_SPEED_FREQ_VERY_HIGH;
  GPIO_InitStruct.Alternate = GPIO_AF10_OTG_FS;
  HAL_GPIO_Init(GPIOA, &GPIO_InitStruct);

  /*Configure GPIO pin : USB_VBUS_Pin */
  GPIO_InitStruct.Pin = USB_VBUS_Pin;
  GPIO_InitStruct.Mode = GPIO_MODE_INPUT;
  GPIO_InitStruct.Pull = GPIO_NOPULL;
  HAL_GPIO_Init(USB_VBUS_GPIO_Port, &GPIO_InitStruct);

}

/* USER CODE BEGIN 4 */
void HAL_ADC_ConvHalfCpltCallback (ADC_HandleTypeDef* hadc)
{
	__NOP();
}

void HAL_ADC_ConvCpltCallback (ADC_HandleTypeDef* hadc)
{
	__NOP();
}
/* USER CODE END 4 */

void Error_Handler(void)
{
}

/************************ (C) COPYRIGHT STMicroelectronics *****END OF FILE****/
